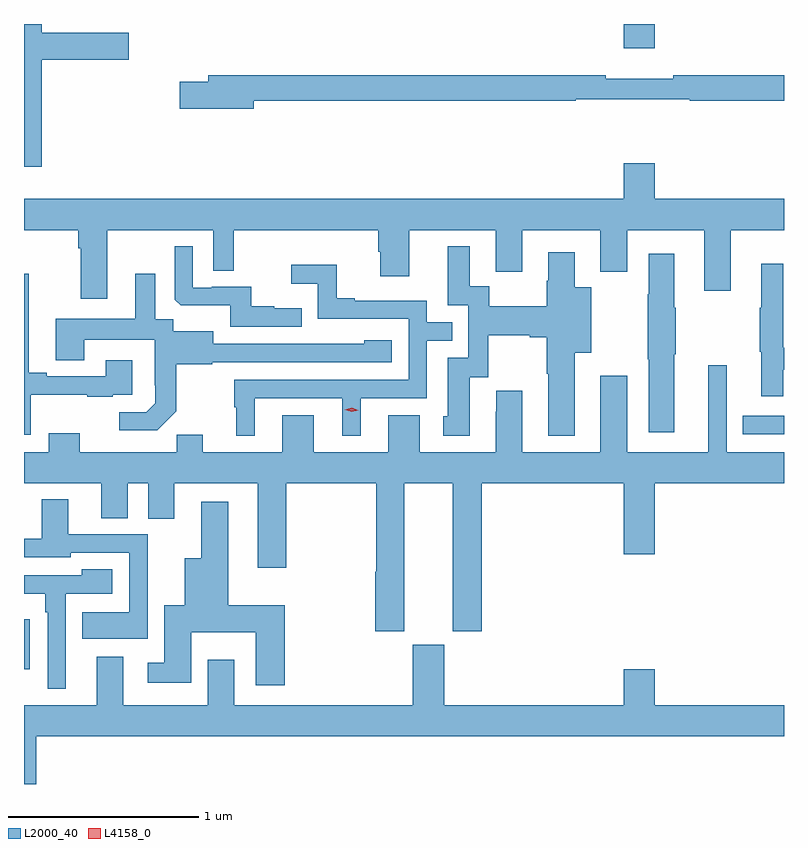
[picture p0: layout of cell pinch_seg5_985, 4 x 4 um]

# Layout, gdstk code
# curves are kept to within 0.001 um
import gdstk
lib = gdstk.Library(unit=1e-6, precision=1e-09)
def R(c, l, rs):  # rectangles x0, y0, x1, y1
    for r in rs: c.add(gdstk.rectangle(r[:2], r[2:], *l))
def P(c, l, *ps):  # polygons
    for p in ps: c.add(gdstk.Polygon(p, *l))
L2000_40 = (2000, 40)
L4158_0 = (4158, 0)

pinch_seg5_985 = lib.new_cell('pinch_seg5_985')
R(pinch_seg5_985, L2000_40, [(677.335,870.434,677.365,870.697), (681.118,871.671,681.335,871.767), (680.492,873.702,680.656,873.829)])
P(pinch_seg5_985, L2000_40, [(677.429,873.641),(677.887,873.641),(677.887,873.783),(677.429,873.783),(677.429,873.829),(677.335,873.829),(677.335,873.078),(677.429,873.078)],
  [(678.544,873.424),(680.24,873.424),(680.24,873.432),(680.84,873.432),(680.84,873.424),(681.335,873.424),(681.335,873.56),(680.752,873.56),(680.752,873.541),(680.396,873.541),(680.396,873.56),(678.305,873.56),(678.305,873.524),(678.156,873.524),(678.156,873.382),(678.544,873.382)],
  [(677.773,872.744),(678.33,872.744),(678.33,872.53),(678.439,872.53),(678.439,872.744),(679.199,872.744),(679.199,872.631),(679.211,872.631),(679.211,872.502),(679.363,872.502),(679.363,872.744),(679.817,872.744),(679.817,872.526),(679.957,872.526),(679.957,872.744),(680.369,872.744),(680.369,872.526),(680.509,872.526),(680.509,872.744),(680.915,872.744),(680.915,872.424),(681.055,872.424),(681.055,872.744),(681.335,872.744),(681.335,872.908),(680.656,872.908),(680.656,873.097),(680.492,873.097),(680.492,872.908),(677.335,872.908),(677.335,872.744),(677.621,872.744),(677.621,872.648),(677.633,872.648),(677.633,872.382),(677.773,872.382)],
  [(678.797,872.332),(678.653,872.332),(678.653,872.344),(678.53,872.344),(678.53,872.445),(678.322,872.445),(678.322,872.442),(678.222,872.442),(678.222,872.659),(678.129,872.659),(678.129,872.379),(678.161,872.348),(678.42,872.348),(678.42,872.235),(678.797,872.235)],
  [(680.233,872.099),(680.32,872.099),(680.32,872.443),(680.233,872.443),(680.233,872.629),(680.093,872.629),(680.093,872.478),(680.086,872.478),(680.086,872.344),(679.783,872.344),(679.783,872.45),(679.681,872.45),(679.681,872.659),(679.565,872.659),(679.565,872.349),(679.674,872.349),(679.674,872.073),(679.565,872.073),(679.565,871.764),(679.541,871.764),(679.541,871.662),(679.681,871.662),(679.681,871.97),(679.779,871.97),(679.779,872.192),(679.997,872.192),(679.997,872.18),(680.086,872.18),(680.086,871.987),(680.093,871.987),(680.093,871.661),(680.233,871.661)],
  [(680.758,872.092),(680.766,872.092),(680.766,872.336),(680.758,872.336),(680.758,872.62),(680.624,872.62),(680.624,872.407),(680.617,872.407),(680.617,872.065),(680.624,872.065),(680.624,871.68),(680.758,871.68)],
  [(681.331,872.009),(681.335,872.009),(681.335,872.126),(681.331,872.126),(681.331,872.566),(681.215,872.566),(681.215,872.336),(681.208,872.336),(681.208,872.103),(681.215,872.103),(681.215,871.869),(681.331,871.869)],
  [(678.55,871.86),(679.01,871.86),(679.01,871.661),(679.108,871.661),(679.108,871.86),(679.455,871.86),(679.455,872.163),(679.589,872.163),(679.589,872.259),(679.455,872.259),(679.455,872.373),(679.075,872.373),(679.075,872.386),(678.981,872.386),(678.981,872.561),(678.741,872.561),(678.741,872.462),(678.882,872.462),(678.882,872.277),(679.359,872.277),(679.359,871.956),(678.441,871.956),(678.441,871.812),(678.452,871.812),(678.452,871.661),(678.55,871.661)],
  [(677.371,871.877),(677.669,871.877),(677.669,871.866),(677.801,871.866),(677.801,871.878),(677.905,871.878),(677.905,872.059),(677.765,872.059),(677.765,871.974),(677.455,871.974),(677.455,871.993),(677.359,871.993),(677.359,872.515),(677.335,872.515),(677.335,871.668),(677.371,871.668)],
  [(678.135,871.791),(678.135,872.037),(678.327,872.037),(678.327,872.049),(679.27,872.049),(679.27,872.164),(679.125,872.164),(679.125,872.146),(678.331,872.145),(678.331,872.212),(678.12,872.212),(678.12,872.276),(678.025,872.276),(678.025,872.515),(677.921,872.515),(677.921,872.278),(677.501,872.278),(677.501,872.059),(677.653,872.059),(677.653,872.168),(678.024,872.168),(678.024,871.927),(678.026,871.927),(678.026,871.832),(677.979,871.785),(677.835,871.785),(677.835,871.691),(678.035,871.691)],
  [(678.695,871.771),(678.695,871.576),(678.277,871.576),(678.277,871.667),(678.139,871.667),(678.139,871.576),(677.629,871.576),(677.629,871.675),(677.465,871.675),(677.465,871.576),(677.335,871.576),(677.335,871.412),(677.741,871.412),(677.741,871.228),(677.881,871.228),(677.881,871.412),(677.988,871.412),(677.988,871.224),(678.127,871.224),(678.127,871.412),(678.566,871.412),(678.566,870.966),(678.714,870.966),(678.714,871.412),(679.189,871.412),(679.189,870.945),(679.184,870.945),(679.184,870.633),(679.336,870.633),(679.336,871.412),(679.592,871.412),(679.592,870.633),(679.745,870.633),(679.745,871.412),(680.492,871.412),(680.492,871.038),(680.656,871.038),(680.656,871.412),(681.335,871.412),(681.335,871.576),(681.033,871.576),(681.033,872.032),(680.936,872.032),(680.936,871.576),(680.509,871.576),(680.509,871.978),(680.369,871.978),(680.369,871.576),(679.957,871.576),(679.957,871.9),(679.82,871.9),(679.82,871.787),(679.817,871.787),(679.817,871.576),(679.417,871.576),(679.417,871.771),(679.253,871.771),(679.253,871.576),(678.859,871.576),(678.859,871.771)],
  [(677.987,871.143),(677.569,871.143),(677.569,871.327),(677.429,871.327),(677.429,871.119),(677.335,871.119),(677.335,871.023),(677.58,871.023),(677.58,871.047),(677.889,871.047),(677.889,870.733),(677.641,870.733),(677.641,870.593),(677.987,870.593)],
  [(678.707,870.769),(678.409,870.769),(678.409,871.315),(678.269,871.315),(678.269,871.018),(678.182,871.018),(678.182,870.769),(678.074,870.769),(678.074,870.466),(677.985,870.466),(677.985,870.362),(678.214,870.362),(678.214,870.629),(678.554,870.629),(678.554,870.348),(678.707,870.348)],
  [(677.556,870.831),(677.8,870.831),(677.8,870.958),(677.639,870.958),(677.639,870.927),(677.335,870.927),(677.335,870.83),(677.448,870.83),(677.448,870.734),(677.46,870.734),(677.46,870.33),(677.556,870.33)],
  [(677.399,870.08),(681.335,870.08),(681.335,870.244),(680.656,870.244),(680.656,870.433),(680.492,870.433),(680.492,870.244),(679.546,870.244),(679.546,870.561),(679.382,870.561),(679.382,870.244),(678.442,870.244),(678.442,870.484),(678.302,870.484),(678.302,870.244),(677.857,870.244),(677.857,870.499),(677.717,870.499),(677.717,870.244),(677.335,870.244),(677.335,869.829),(677.399,869.829)])
P(pinch_seg5_985, L4158_0, [(679.059,871.788),(679.023,871.798),(679.023,871.798),(679.023,871.798),(679.059,871.808),(679.095,871.797),(679.095,871.797),(679.095,871.797)])

lib.write_gds('pinch_seg5_985.gds')
